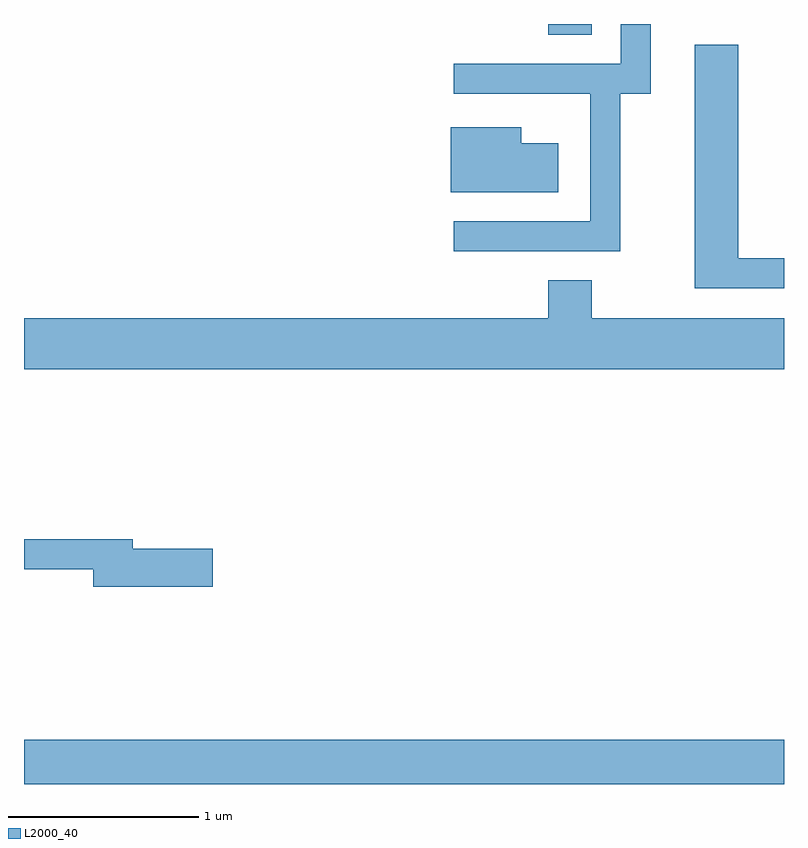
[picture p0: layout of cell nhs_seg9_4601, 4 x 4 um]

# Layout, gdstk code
import gdstk
lib = gdstk.Library(unit=1e-6, precision=1e-09)
def R(c, l, rs):  # rectangles x0, y0, x1, y1
    for r in rs: c.add(gdstk.rectangle(r[:2], r[2:], *l))
def P(c, l, *ps):  # polygons
    for p in ps: c.add(gdstk.Polygon(p, *l))
L2000_40 = (2000, 40)

nhs_seg9_4601 = lib.new_cell('nhs_seg9_4601')
R(nhs_seg9_4601, L2000_40, [(319.611,2078.432,323.611,2078.664), (322.371,2082.376,322.599,2082.432)])
P(nhs_seg9_4601, L2000_40, [(322.749,2082.066),(322.909,2082.066),(322.909,2082.432),(322.751,2082.432),(322.751,2082.224),(321.873,2082.224),(321.873,2082.066),(322.591,2082.066),(322.591,2081.394),(321.873,2081.394),(321.873,2081.236),(322.749,2081.236)],
  [(323.611,2081.199),(323.369,2081.199),(323.369,2082.324),(323.141,2082.324),(323.141,2081.041),(323.611,2081.041)],
  [(322.424,2081.804),(322.229,2081.804),(322.229,2081.889),(321.856,2081.889),(321.856,2081.546),(322.424,2081.546)],
  [(323.611,2080.884),(322.599,2080.884),(322.599,2081.084),(322.371,2081.084),(322.371,2080.884),(319.611,2080.884),(319.611,2080.616),(323.611,2080.616)],
  [(320.604,2079.669),(320.184,2079.669),(320.184,2079.719),(319.611,2079.719),(319.611,2079.561),(319.976,2079.561),(319.976,2079.471),(320.604,2079.471)])

lib.write_gds('nhs_seg9_4601.gds')
